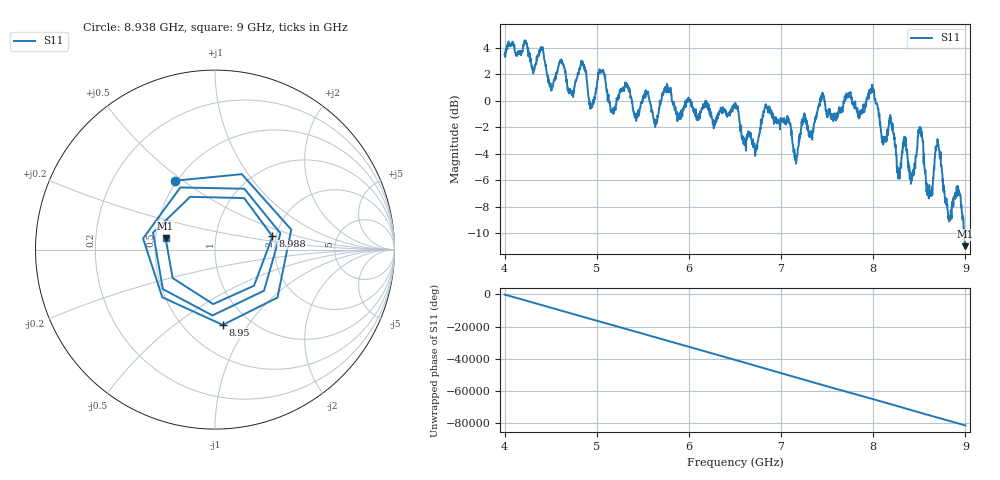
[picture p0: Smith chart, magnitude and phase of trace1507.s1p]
! Created with skrf 1.8.0 (http://scikit-rf.org).
# Hz S RI R 50.0
!freq ReS11 ImS11
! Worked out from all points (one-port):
!   1601 points, 4 GHz to 9 GHz, reference 50 ohm
!   lowest |S11| = -11.0 dB at 9 GHz (marker M1), VSWR 1.79, Z = 28.2 + j3.99 ohm
!   |S11| at or under -10 dB: 8.989108 GHz to end of sweep
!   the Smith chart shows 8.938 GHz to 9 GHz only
!   S11 on the Smith chart (normalised r, x): 8.938 GHz: 0.49, +0.47; 8.95 GHz: 0.75, -0.77; 8.988 GHz: 1.91, +0.32; 9 GHz: 0.56, +0.08
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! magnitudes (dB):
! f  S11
! 4 GHz  3.5
! 4.4 GHz  3.8
! 4.506 GHz  0.9
! 4.625 GHz  3.0
! 4.728 GHz  0.4
! 4.853 GHz  2.6
! 4.941 GHz  -0.5
! 5.047 GHz  2.2
! 5.162 GHz  -0.8
! 5.25 GHz  0.8
! 5.875 GHz  -1.5
! 6.5 GHz  -0.5
! 6.597 GHz  -3.0
! 6.85 GHz  -0.5
! 7.125 GHz  -3.3
! 7.75 GHz  0.5
! 7.988 GHz  1.2
! 8.278 GHz  -5.4
! 8.375 GHz  -4.4
! 8.422 GHz  -5.5
! 8.509 GHz  -2.0
! 8.603 GHz  -7.4
! 8.7 GHz  -3.0
! 8.812 GHz  -8.6
! 8.938 GHz  -7.1
! 8.95 GHz  -7.5
! 8.988 GHz  -9.7
! 9 GHz  -11.0
